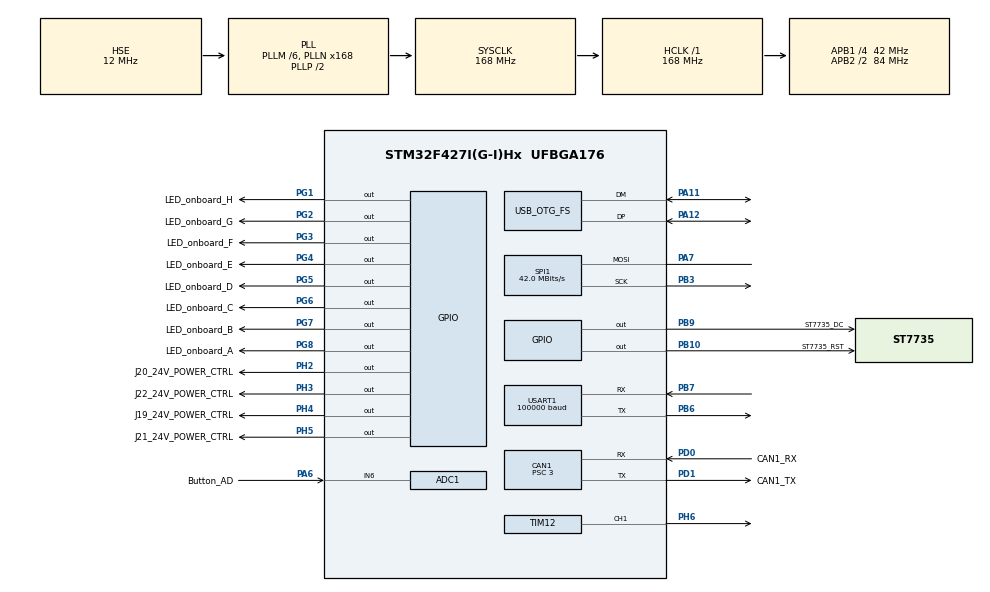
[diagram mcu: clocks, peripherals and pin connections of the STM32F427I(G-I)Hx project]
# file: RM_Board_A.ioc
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ADC1.Channel-0\#ChannelRegularConversion=ADC_CHANNEL_6
ADC1.NbrOfConversionFlag=1
ADC1.Rank-0\#ChannelRegularConversion=1
ADC1.SamplingTime-0\#ChannelRegularConversion=ADC_SAMPLETIME_3CYCLES
ADC1.master=1
CAN1.BS1=CAN_BS1_10TQ
CAN1.BS2=CAN_BS2_3TQ
CAN1.CalculateBaudRate=1000000
CAN1.CalculateTimeBit=1000
CAN1.CalculateTimeQuantum=71.42857142857143
CAN1.Prescaler=3
Dma.Request0=USART1_RX
Dma.USART1_RX.0.Direction=DMA_PERIPH_TO_MEMORY
Dma.USART1_RX.0.FIFOMode=DMA_FIFOMODE_DISABLE
Dma.USART1_RX.0.Instance=DMA2_Stream2
Dma.USART1_RX.0.MemDataAlignment=DMA_MDATAALIGN_BYTE
Dma.USART1_RX.0.MemInc=DMA_MINC_ENABLE
Dma.USART1_RX.0.Mode=DMA_CIRCULAR
Dma.USART1_RX.0.PeriphDataAlignment=DMA_PDATAALIGN_BYTE
Dma.USART1_RX.0.PeriphInc=DMA_PINC_DISABLE
Dma.USART1_RX.0.Priority=DMA_PRIORITY_VERY_HIGH
FREERTOS.Tasks01=LED_Blink,24,128,Task_LED_Blink,Default,NULL,Dynamic,NULL,NULL;OLED_Display,24,128,Task_OLED_Display,Default,NULL,Dynamic,NULL,NULL;Buzzer_Annoying,24,128,Task_Buzzer_Annoying,Default,NULL,Dynamic,NULL,NULL
FREERTOS.configGENERATE_RUN_TIME_STATS=1
FREERTOS.configUSE_STATS_FORMATTING_FUNCTIONS=1
Mcu.Family=STM32F4
Mcu.Name=STM32F427I(G-I)Hx
Mcu.Package=UFBGA176
NVIC.ADC_IRQn=true\:5\:0\:false\:false\:true\:true\:true\:true\:true
NVIC.CAN1_RX0_IRQn=true\:5\:0\:false\:false\:true\:true\:true\:true\:true
NVIC.DMA2_Stream2_IRQn=true\:5\:0\:false\:false\:true\:true\:false\:true\:true
NVIC.OTG_FS_IRQn=true\:5\:0\:false\:false\:true\:true\:false\:true\:true
NVIC.PriorityGroup=NVIC_PRIORITYGROUP_4
NVIC.TIM1_UP_TIM10_IRQn=true\:15\:0\:false\:false\:true\:false\:false\:true\:true
NVIC.TimeBase=TIM1_UP_TIM10_IRQn
NVIC.TimeBaseIP=TIM1
NVIC.USART1_IRQn=true\:5\:0\:false\:false\:true\:true\:true\:true\:true
PA11.Mode=Device_Only
PA11.Signal=USB_OTG_FS_DM
PA12.Mode=Device_Only
PA12.Signal=USB_OTG_FS_DP
PA13.Mode=Serial_Wire
PA13.Signal=SYS_JTMS-SWDIO
PA14.Mode=Serial_Wire
PA14.Signal=SYS_JTCK-SWCLK
PA6.GPIO_Label=Button_AD
PA6.Signal=ADCx_IN6
PA7.Mode=Simplex_Bidirectional_Master
PA7.Signal=SPI1_MOSI
PB10.GPIO_Label=ST7735_RST
PB10.Signal=GPIO_Output
PB3.Mode=Simplex_Bidirectional_Master
PB3.Signal=SPI1_SCK
PB6.GPIO_PuPd=GPIO_PULLUP
PB6.Mode=Asynchronous
PB6.Signal=USART1_TX
PB7.GPIO_ModeDefaultPP=GPIO_MODE_AF_OD
PB7.GPIO_PuPd=GPIO_PULLUP
PB7.Mode=Asynchronous
PB7.Signal=USART1_RX
PB9.GPIO_Label=ST7735_DC
PB9.Signal=GPIO_Output
PD0.GPIO_Label=CAN1_RX
PD0.Mode=CAN_Activate
PD0.Signal=CAN1_RX
PD1.GPIO_Label=CAN1_TX
PD1.Mode=CAN_Activate
PD1.Signal=CAN1_TX
PG1.GPIO_Label=LED_onboard_H
PG1.GPIO_ModeDefaultOutputPP=GPIO_MODE_OUTPUT_OD
PG1.GPIO_PuPd=GPIO_PULLUP
PG1.PinState=GPIO_PIN_SET
PG1.Signal=GPIO_Output
PG2.GPIO_Label=LED_onboard_G
PG2.GPIO_ModeDefaultOutputPP=GPIO_MODE_OUTPUT_OD
PG2.GPIO_PuPd=GPIO_PULLUP
PG2.PinState=GPIO_PIN_SET
PG2.Signal=GPIO_Output
PG3.GPIO_Label=LED_onboard_F
PG3.PinState=GPIO_PIN_SET
PG3.Signal=GPIO_Output
PG4.GPIO_Label=LED_onboard_E
PG4.GPIO_ModeDefaultOutputPP=GPIO_MODE_OUTPUT_OD
PG4.GPIO_PuPd=GPIO_PULLUP
PG4.PinState=GPIO_PIN_SET
PG4.Signal=GPIO_Output
PG5.GPIO_Label=LED_onboard_D
PG5.GPIO_ModeDefaultOutputPP=GPIO_MODE_OUTPUT_OD
PG5.GPIO_PuPd=GPIO_PULLUP
PG5.PinState=GPIO_PIN_SET
PG5.Signal=GPIO_Output
PG6.GPIO_Label=LED_onboard_C
PG6.GPIO_ModeDefaultOutputPP=GPIO_MODE_OUTPUT_OD
PG6.GPIO_PuPd=GPIO_PULLUP
PG6.PinState=GPIO_PIN_SET
PG6.Signal=GPIO_Output
PG7.GPIO_Label=LED_onboard_B
PG7.GPIO_ModeDefaultOutputPP=GPIO_MODE_OUTPUT_OD
PG7.GPIO_PuPd=GPIO_PULLUP
PG7.PinState=GPIO_PIN_SET
PG7.Signal=GPIO_Output
PG8.GPIO_Label=LED_onboard_A
PG8.GPIO_ModeDefaultOutputPP=GPIO_MODE_OUTPUT_OD
PG8.GPIO_PuPd=GPIO_PULLUP
PG8.PinState=GPIO_PIN_SET
PG8.Signal=GPIO_Output
PH0/OSC_IN.Mode=HSE-External-Oscillator
PH0/OSC_IN.Signal=RCC_OSC_IN
PH1/OSC_OUT.Mode=HSE-External-Oscillator
PH1/OSC_OUT.Signal=RCC_OSC_OUT
PH2.GPIO_Label=J20_24V_POWER_CTRL
PH2.PinState=GPIO_PIN_SET
PH2.Signal=GPIO_Output
PH3.GPIO_Label=J22_24V_POWER_CTRL
PH3.PinState=GPIO_PIN_SET
PH3.Signal=GPIO_Output
PH4.GPIO_Label=J19_24V_POWER_CTRL
PH4.PinState=GPIO_PIN_SET
PH4.Signal=GPIO_Output
PH5.GPIO_Label=J21_24V_POWER_CTRL
PH5.GPIO_ModeDefaultOutputPP=GPIO_MODE_OUTPUT_PP
PH5.GPIO_PuPd=GPIO_NOPULL
PH5.PinState=GPIO_PIN_SET
PH5.Signal=GPIO_Output
PH6.Signal=S_TIM12_CH1
ProjectManager.HeapSize=0x200
ProjectManager.StackSize=0x400
ProjectManager.TargetToolchain=STM32CubeIDE
RCC.48MHZClocksFreq_Value=48000000
RCC.AHBFreq_Value=168000000
RCC.APB1CLKDivider=RCC_HCLK_DIV4
RCC.APB1Freq_Value=42000000
RCC.APB1TimFreq_Value=84000000
RCC.APB2CLKDivider=RCC_HCLK_DIV2
RCC.APB2Freq_Value=84000000
RCC.APB2TimFreq_Value=168000000
RCC.CortexFreq_Value=168000000
RCC.EnbaleCSS=true
RCC.HCLKFreq_Value=168000000
RCC.HSE_VALUE=12000000
RCC.HSI_VALUE=16000000
RCC.LSE_VALUE=32768
RCC.PLLM=6
RCC.PLLN=168
RCC.PLLQ=7
RCC.SYSCLKFreq_VALUE=168000000
RCC.SYSCLKSource=RCC_SYSCLKSOURCE_PLLCLK
RCC.VCOOutputFreq_Value=336000000
SH.ADCx_IN6.0=ADC1_IN6,IN6
SH.S_TIM12_CH1.0=TIM12_CH1,PWM Generation1 CH1
SPI1.BaudRatePrescaler=SPI_BAUDRATEPRESCALER_2
SPI1.CRCCalculation=SPI_CRCCALCULATION_DISABLE
SPI1.CalculateBaudRate=42.0 MBits/s
SPI1.Direction=SPI_DIRECTION_1LINE
SPI1.Mode=SPI_MODE_MASTER
SPI1.VirtualType=VM_MASTER
TIM12.Channel-PWM\ Generation1\ CH1=TIM_CHANNEL_1
TIM12.Period=20999
USART1.BaudRate=100000
USART1.Mode=MODE_TX_RX
USART1.Parity=PARITY_EVEN
USART1.StopBits=STOPBITS_1
USART1.VirtualMode=VM_ASYNC
USB_DEVICE.CLASS_NAME_FS=CDC
USB_DEVICE.VirtualMode-CDC_FS=Cdc
USB_DEVICE.VirtualModeFS=Cdc_FS
USB_OTG_FS.VirtualMode=Device_Only
VP_ADC1_TempSens_Input.Mode=IN-TempSens
VP_FREERTOS_VS_CMSIS_V2.Mode=CMSIS_V2
VP_SYS_VS_tim1.Mode=TIM1
VP_TIM12_VS_ClockSourceINT.Mode=Internal
VP_USB_DEVICE_VS_USB_DEVICE_CDC_FS.Mode=CDC_FS
board=custom

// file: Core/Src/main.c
/* USER CODE BEGIN Header */
/**
  ******************************************************************************
  * @file           : main.c
  * @brief          : Main program body
  ******************************************************************************
  * @attention
  *
  * Copyright (c) 2022 STMicroelectronics.
  * All rights reserved.
  *
  * This software is licensed under terms that can be found in the LICENSE file
  * in the root directory of this software component.
  * If no LICENSE file comes with this software, it is provided AS-IS.
  *
  ******************************************************************************
  */
/* USER CODE END Header */
#include "main.h"
#include "cmsis_os.h"
#include "adc.h"
#include "can.h"
#include "dma.h"
#include "spi.h"
#include "tim.h"
#include "usart.h"
#include "usb_device.h"
#include "gpio.h"

/* USER CODE BEGIN Includes */
#include "remote_control.h"
#include "bsp_can.h"
#include "user_pid.h"
#include "GLOBAL_status.h"
#include "st7735.h"
#include "Buzzer_onboard.h"
#include "user_CLI.h"
/* USER CODE END Includes */

void SystemClock_Config(void);
void MX_FREERTOS_Init(void);
/* USER CODE BEGIN PFP */
const RC_ctrl_t *local_rc_ctrl;
/* USER CODE END PFP */

int main(void)
{

  /* MCU Configuration--------------------------------------------------------*/

  /* Reset of all peripherals, Initializes the Flash interface and the Systick. */
  HAL_Init();

  /* Configure the system clock */
  SystemClock_Config();

  /* Initialize all configured peripherals */
  MX_GPIO_Init();
  MX_DMA_Init();
  MX_USART1_UART_Init();
  MX_CAN1_Init();
  MX_ADC1_Init();
  MX_SPI1_Init();
  MX_TIM12_Init();
  /* USER CODE BEGIN 2 */
	remote_control_init();
	can_filter_init();
	user_pid_Init();
	ST7735_Init();

	GLOBAL_All_Status_Init();
	user_CLI_Init();
  /* USER CODE END 2 */

  /* Init scheduler */
  osKernelInitialize();  /* Call init function for freertos objects (in freertos.c) */
  MX_FREERTOS_Init();

  /* Start scheduler */
  osKernelStart();

  /* We should never get here as control is now taken by the scheduler */
  /* Infinite loop */
	while (1)
	{

	}
}

void SystemClock_Config(void)
{
  RCC_OscInitTypeDef RCC_OscInitStruct = {0};
  RCC_ClkInitTypeDef RCC_ClkInitStruct = {0};

  /** Configure the main internal regulator output voltage
  */
  __HAL_RCC_PWR_CLK_ENABLE();
  __HAL_PWR_VOLTAGESCALING_CONFIG(PWR_REGULATOR_VOLTAGE_SCALE1);

  /** Initializes the RCC Oscillators according to the specified parameters
  * in the RCC_OscInitTypeDef structure.
  */
  RCC_OscInitStruct.OscillatorType = RCC_OSCILLATORTYPE_HSE;
  RCC_OscInitStruct.HSEState = RCC_HSE_ON;
  RCC_OscInitStruct.PLL.PLLState = RCC_PLL_ON;
  RCC_OscInitStruct.PLL.PLLSource = RCC_PLLSOURCE_HSE;
  RCC_OscInitStruct.PLL.PLLM = 6;
  RCC_OscInitStruct.PLL.PLLN = 168;
  RCC_OscInitStruct.PLL.PLLP = RCC_PLLP_DIV2;
  RCC_OscInitStruct.PLL.PLLQ = 7;
  if (HAL_RCC_OscConfig(&RCC_OscInitStruct) != HAL_OK)
  {
    Error_Handler();
  }

  /** Initializes the CPU, AHB and APB buses clocks
  */
  RCC_ClkInitStruct.ClockType = RCC_CLOCKTYPE_HCLK|RCC_CLOCKTYPE_SYSCLK
                              |RCC_CLOCKTYPE_PCLK1|RCC_CLOCKTYPE_PCLK2;
  RCC_ClkInitStruct.SYSCLKSource = RCC_SYSCLKSOURCE_PLLCLK;
  RCC_ClkInitStruct.AHBCLKDivider = RCC_SYSCLK_DIV1;
  RCC_ClkInitStruct.APB1CLKDivider = RCC_HCLK_DIV4;
  RCC_ClkInitStruct.APB2CLKDivider = RCC_HCLK_DIV2;

  if (HAL_RCC_ClockConfig(&RCC_ClkInitStruct, FLASH_LATENCY_5) != HAL_OK)
  {
    Error_Handler();
  }

  /** Enables the Clock Security System
  */
  HAL_RCC_EnableCSS();
}

void HAL_TIM_PeriodElapsedCallback(TIM_HandleTypeDef *htim)
{
  if (htim->Instance == TIM1) {
    HAL_IncTick();
  }
}

void Error_Handler(void)
{
	__disable_irq();
	while (1)
	{
	}
}

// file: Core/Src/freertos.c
/* USER CODE BEGIN Header */
/**
  ******************************************************************************
  * File Name          : freertos.c
  * Description        : Code for freertos applications
  ******************************************************************************
  * @attention
  *
  * Copyright (c) 2022 STMicroelectronics.
  * All rights reserved.
  *
  * This software is licensed under terms that can be found in the LICENSE file
  * in the root directory of this software component.
  * If no LICENSE file comes with this software, it is provided AS-IS.
  *
  ******************************************************************************
  */
/* USER CODE END Header */

#include "FreeRTOS.h"
#include "task.h"
#include "main.h"
#include "cmsis_os.h"

/* USER CODE BEGIN Includes */
#include "LEDs_onboard.h"
#include "user_pid.h"
#include "usbd_cdc_if.h"
#include "st7735.h"
#include "support.h"
#include "Buzzer_onboard.h"
#include "GLOBAL_status.h"
#define MAX_PSC                 1000

#define MAX_BUZZER_PWM      20000
#define MIN_BUZZER_PWM      10000

uint16_t psc = 0;
uint16_t pwm = MIN_BUZZER_PWM;
/* USER CODE END Includes */

/* Definitions for LED_Blink */
osThreadId_t LED_BlinkHandle;
const osThreadAttr_t LED_Blink_attributes = {
  .name = "LED_Blink",
  .stack_size = 128 * 4,
  .priority = (osPriority_t) osPriorityNormal,
};
/* Definitions for OLED_Display */
osThreadId_t OLED_DisplayHandle;
const osThreadAttr_t OLED_Display_attributes = {
  .name = "OLED_Display",
  .stack_size = 128 * 4,
  .priority = (osPriority_t) osPriorityNormal,
};
/* Definitions for Buzzer_Annoying */
osThreadId_t Buzzer_AnnoyingHandle;
const osThreadAttr_t Buzzer_Annoying_attributes = {
  .name = "Buzzer_Annoying",
  .stack_size = 128 * 4,
  .priority = (osPriority_t) osPriorityNormal,
};

void Task_LED_Blink(void *argument);
void Task_OLED_Display(void *argument);
void Task_Buzzer_Annoying(void *argument);

extern void MX_USB_DEVICE_Init(void);
void MX_FREERTOS_Init(void); /* (MISRA C 2004 rule 8.1) */

/* Hook prototypes */
void configureTimerForRunTimeStats(void);
unsigned long getRunTimeCounterValue(void);

/* USER CODE BEGIN 1 */
/* Functions needed when configGENERATE_RUN_TIME_STATS is on */
__weak void configureTimerForRunTimeStats(void)
{

}

__weak unsigned long getRunTimeCounterValue(void)
{
	return 0;
}
/* USER CODE END 1 */

void MX_FREERTOS_Init(void) {

  /* Create the thread(s) */
  /* creation of LED_Blink */
  LED_BlinkHandle = osThreadNew(Task_LED_Blink, NULL, &LED_Blink_attributes);

  /* creation of OLED_Display */
  OLED_DisplayHandle = osThreadNew(Task_OLED_Display, NULL, &OLED_Display_attributes);

  /* creation of Buzzer_Annoying */
  Buzzer_AnnoyingHandle = osThreadNew(Task_Buzzer_Annoying, NULL, &Buzzer_Annoying_attributes);

}

void Task_LED_Blink(void *argument)
{
  /* init code for USB_DEVICE */
  MX_USB_DEVICE_Init();
  /* USER CODE BEGIN Task_LED_Blink */
	/* Infinite loop */
	for(;;)
	{
		osDelay(1);
		Fused_LEDs_Display.ShowWaterful();
	}
  /* USER CODE END Task_LED_Blink */
}

void Task_OLED_Display(void *argument)
{
  /* USER CODE BEGIN Task_OLED_Display */
	/* Infinite loop */
	for(;;)
	{
		ST7735_DrawInt(6, 0, (uint16_t)Fused_LEDs_IO.WaterfulNum, green);
		ST7735_Display_Heart_Pulse();
	}
  /* USER CODE END Task_OLED_Display */
}

void Task_Buzzer_Annoying(void *argument)
{
  /* USER CODE BEGIN Task_Buzzer_Annoying */
	/* Infinite loop */
	for(;;)
	{
		osDelay(2000);

	}
  /* USER CODE END Task_Buzzer_Annoying */
}
